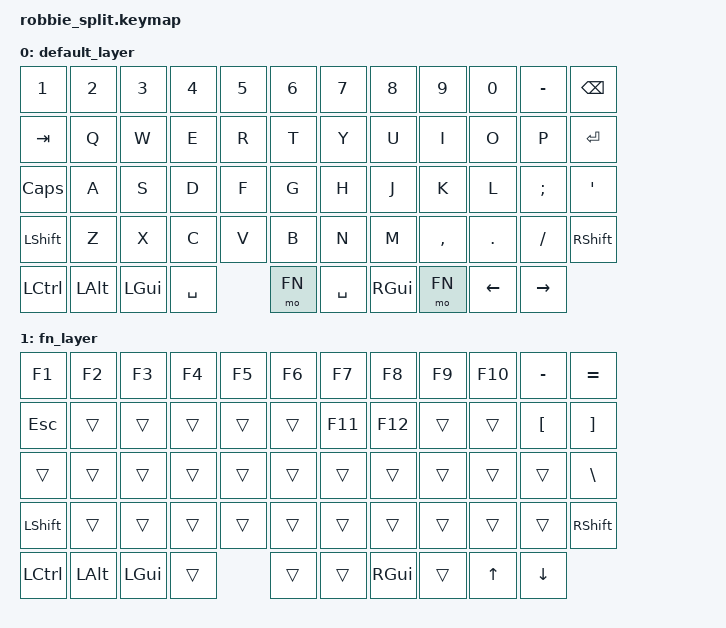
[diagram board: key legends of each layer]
/*
 * Robbie Split - Keymap
 * 58 keys: 29 left + 29 right
 * Left missing: row5/col5  |  Right missing: row5/col1
 *
 * Default Layer:
 * ┌─────┬─────┬─────┬─────┬─────┬─────┐   ┌─────┬─────┬─────┬─────┬─────┬─────┐
 * │  1  │  2  │  3  │  4  │  5  │  6  │   │  7  │  8  │  9  │  0  │  -  │ BSP │
 * ├─────┼─────┼─────┼─────┼─────┼─────┤   ├─────┼─────┼─────┼─────┼─────┼─────┤
 * │ TAB │  Q  │  W  │  E  │  R  │  T  │   │  Y  │  U  │  I  │  O  │  P  │ ENT │
 * ├─────┼─────┼─────┼─────┼─────┼─────┤   ├─────┼─────┼─────┼─────┼─────┼─────┤
 * │ CAP │  A  │  S  │  D  │  F  │  G  │   │  H  │  J  │  K  │  L  │  ;  │  '  │
 * ├─────┼─────┼─────┼─────┼─────┼─────┤   ├─────┼─────┼─────┼─────┼─────┼─────┤
 * │ SHF │  Z  │  X  │  C  │  V  │  B  │   │  N  │  M  │  ,  │  .  │  /  │ SHF │
 * ├─────┼─────┼─────┼─────┼─────┼─────┤   ├─────┼─────┼─────┼─────┼─────┼─────┤
 * │ CTL │ OPT │ CMD │   SPACE   │ FN  │   │ SPC │ CMD │ FN  │  ←  │  →  │
 * └─────┴─────┴─────┴───────────┴─────┘   └─────┴─────┴─────┴─────┴─────┘
 */

#include <behaviors.dtsi>
#include <dt-bindings/zmk/keys.h>
#include <dt-bindings/zmk/bt.h>

#define DEFAULT 0
#define FN 1

/ {
    keymap {
        compatible = "zmk,keymap";

        default_layer {
            bindings = <
            //  Col1       Col2      Col3      Col4      Col5      Col6          Col1      Col2      Col3      Col4       Col5       Col6
                &kp N1     &kp N2    &kp N3    &kp N4    &kp N5    &kp N6        &kp N7    &kp N8    &kp N9    &kp N0     &kp MINUS  &kp BSPC
                &kp TAB    &kp Q     &kp W     &kp E     &kp R     &kp T         &kp Y     &kp U     &kp I     &kp O      &kp P      &kp RET
                &kp CAPS   &kp A     &kp S     &kp D     &kp F     &kp G         &kp H     &kp J     &kp K     &kp L      &kp SEMI   &kp SQT
                &kp LSHFT  &kp Z     &kp X     &kp C     &kp V     &kp B         &kp N     &kp M     &kp COMMA &kp DOT    &kp FSLH   &kp RSHFT
                &kp LCTRL  &kp LALT  &kp LGUI  &kp SPACE           &mo FN        &kp SPACE &kp RGUI  &mo FN    &kp LEFT   &kp RIGHT
            >;
        };

        fn_layer {
            bindings = <
            //  Col1       Col2      Col3      Col4      Col5      Col6          Col1      Col2      Col3      Col4       Col5       Col6
                &kp F1     &kp F2    &kp F3    &kp F4    &kp F5    &kp F6        &kp F7    &kp F8    &kp F9    &kp F10    &kp MINUS  &kp EQUAL
                &kp ESC    &trans    &trans    &trans    &trans    &trans        &kp F11   &kp F12   &trans    &trans     &kp LBKT   &kp RBKT
                &trans     &trans    &trans    &trans    &trans    &trans        &trans    &trans    &trans    &trans     &trans     &kp BSLH
                &kp LSHFT  &trans    &trans    &trans    &trans    &trans        &trans    &trans    &trans    &trans     &trans     &kp RSHFT
                &kp LCTRL  &kp LALT  &kp LGUI  &trans              &trans        &trans    &kp RGUI  &trans    &kp UP     &kp DOWN
            >;
        };
    };
};
